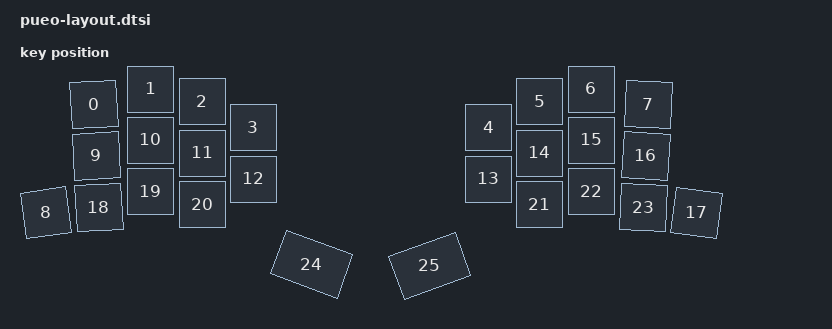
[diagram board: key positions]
#include <physical_layouts.dtsi>

/ {
    pueo_layout: pueo_layout {
        compatible = "zmk,physical-layout";
        display-name = "Default";

        keys  //                     w   h    x    y     rot    rx    ry
            = <&key_physical_attrs 100 100   96   31  (-300)   146    81>
            , <&key_physical_attrs 100 100  210    0       0     0     0>
            , <&key_physical_attrs 100 100  313   25       0     0     0>
            , <&key_physical_attrs 100 100  415   77       0     0     0>
            , <&key_physical_attrs 100 100  886   77       0     0     0>
            , <&key_physical_attrs 100 100  988   25       0     0     0>
            , <&key_physical_attrs 100 100 1091    0       0     0     0>
            , <&key_physical_attrs 100 100 1205   31     300  1255    81>
            , <&key_physical_attrs 100 100    0  248  (-800)    49   298>
            , <&key_physical_attrs 100 100  101  134  (-300)   151   184>
            , <&key_physical_attrs 100 100  210  102       0     0     0>
            , <&key_physical_attrs 100 100  313  128       0     0     0>
            , <&key_physical_attrs 100 100  415  180       0     0     0>
            , <&key_physical_attrs 100 100  886  180       0     0     0>
            , <&key_physical_attrs 100 100  988  128       0     0     0>
            , <&key_physical_attrs 100 100 1091  102       0     0     0>
            , <&key_physical_attrs 100 100 1200  134     300  1250   184>
            , <&key_physical_attrs 100 100 1301  248     800  1351   298>
            , <&key_physical_attrs 100 100  106  237  (-300)   156   287>
            , <&key_physical_attrs 100 100  210  205       0     0     0>
            , <&key_physical_attrs 100 100  313  231       0     0     0>
            , <&key_physical_attrs 100 100  988  231       0     0     0>
            , <&key_physical_attrs 100 100 1091  205       0     0     0>
            , <&key_physical_attrs 100 100 1195  237     300  1245   287>
            , <&key_physical_attrs 150 100  508  342    2000   558   392>
            , <&key_physical_attrs 150 100  743  327 (-2000)   893   392>
            ;
    };
};
